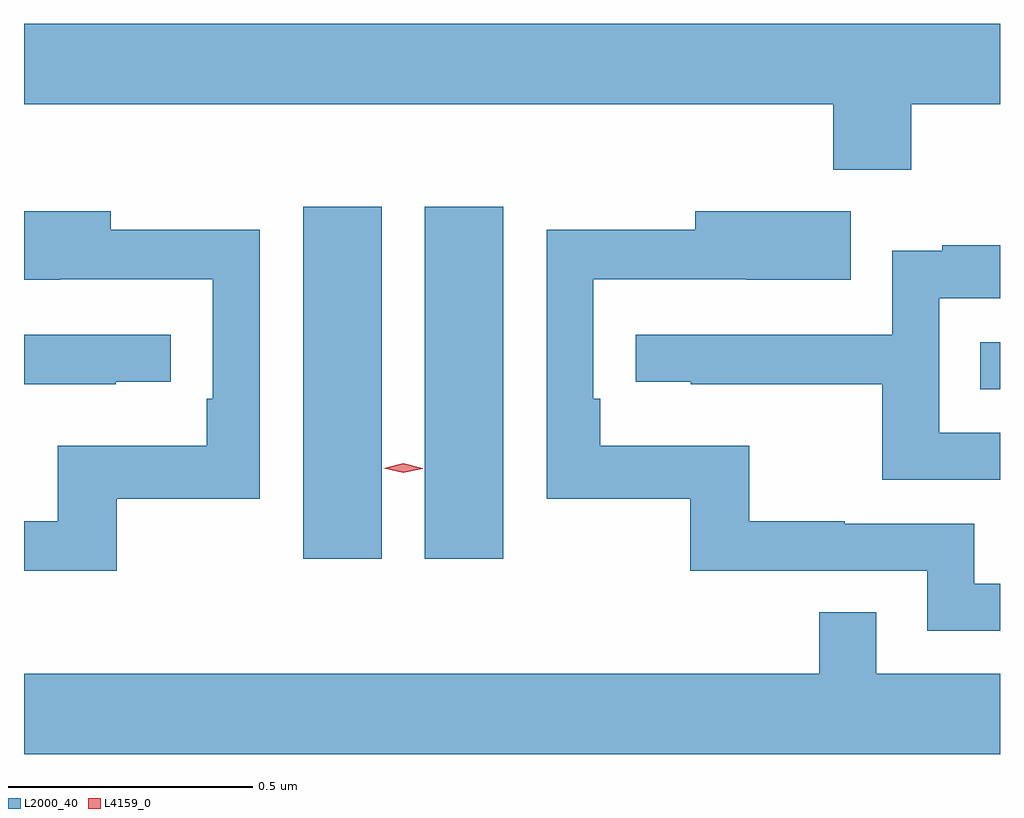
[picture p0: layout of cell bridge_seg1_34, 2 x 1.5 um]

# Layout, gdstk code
import gdstk
lib = gdstk.Library(unit=1e-6, precision=1e-09)
def R(c, l, rs):  # rectangles x0, y0, x1, y1
    for r in rs: c.add(gdstk.rectangle(r[:2], r[2:], *l))
def P(c, l, *ps):  # polygons
    for p in ps: c.add(gdstk.Polygon(p, *l))
L2000_40 = (2000, 40)
L4159_0 = (4159, 0)

bridge_seg1_34 = lib.new_cell('bridge_seg1_34')
R(bridge_seg1_34, L2000_40, [(1020.251,557.46,1020.412,558.181), (1020.5,557.46,1020.661,558.181), (1021.639,557.808,1021.679,557.904)])
P(bridge_seg1_34, L2000_40, [(1021.497,558.392),(1021.679,558.392),(1021.679,558.556),(1019.679,558.556),(1019.679,558.392),(1021.337,558.392),(1021.337,558.257),(1021.497,558.257)],
  [(1019.869,557.583),(1020.162,557.583),(1020.162,558.134),(1019.857,558.134),(1019.857,558.172),(1019.679,558.172),(1019.679,558.032),(1019.753,558.032),(1019.753,558.033),(1020.066,558.033),(1020.066,557.788),(1020.053,557.788),(1020.053,557.692),(1019.748,557.692),(1019.748,557.537),(1019.679,557.537),(1019.679,557.436),(1019.869,557.436)],
  [(1021.679,557.409),(1021.626,557.409),(1021.626,557.532),(1021.361,557.532),(1021.361,557.537),(1021.165,557.537),(1021.165,557.692),(1020.86,557.692),(1020.86,557.788),(1020.846,557.788),(1020.846,558.033),(1021.159,558.033),(1021.159,558.032),(1021.373,558.032),(1021.373,558.172),(1021.055,558.172),(1021.055,558.134),(1020.75,558.134),(1020.75,557.583),(1021.044,557.583),(1021.044,557.436),(1021.53,557.436),(1021.53,557.313),(1021.679,557.313)],
  [(1021.679,557.718),(1021.554,557.718),(1021.554,557.994),(1021.679,557.994),(1021.679,558.103),(1021.561,558.103),(1021.561,558.091),(1021.458,558.091),(1021.458,557.919),(1020.933,557.919),(1020.933,557.823),(1021.045,557.823),(1021.045,557.818),(1021.438,557.818),(1021.438,557.622),(1021.679,557.622)],
  [(1019.867,557.823),(1019.98,557.823),(1019.98,557.919),(1019.679,557.919),(1019.679,557.818),(1019.867,557.818)],
  [(1021.679,557.224),(1021.425,557.224),(1021.425,557.351),(1021.309,557.351),(1021.309,557.224),(1019.679,557.224),(1019.679,557.06),(1021.679,557.06)])
P(bridge_seg1_34, L4159_0, [(1020.456,557.636),(1020.416,557.646),(1020.416,557.646),(1020.416,557.646),(1020.456,557.656),(1020.496,557.646),(1020.496,557.646),(1020.496,557.645)])

lib.write_gds('bridge_seg1_34.gds')
